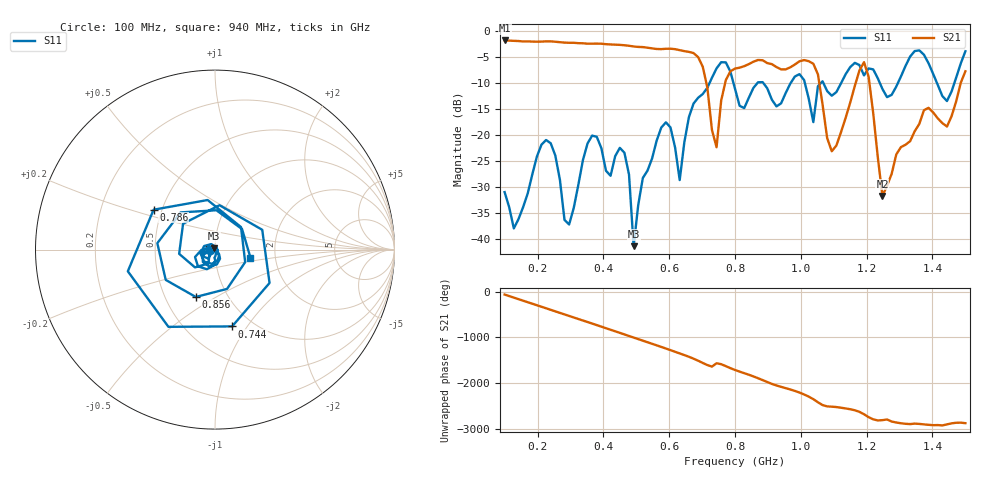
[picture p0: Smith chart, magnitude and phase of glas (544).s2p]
! NanoVNA-App
! Date: 2025-09-25 15:59:42
! Start: 100MHz Stop: 1,5GHz Points: 101
! S-Parameter data: F S11 S21 S12 S22
# Hz S RI R 50
!  Frequency  S11_Real  S11_Imag  S21_Real  S21_Imag  S12_Real  S12_Imag  S22_Real  S22_Imag
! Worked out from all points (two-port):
!   101 points, 100 MHz to 1.5 GHz, reference 50 ohm
!   highest |S21| = -1.80 dB at 100 MHz (marker M1); lowest = -31.7 dB at 1.248 GHz (marker M2)
!   |S21| within 3 dB of the highest: start of sweep to 684.4 MHz
!   lowest |S11| = -41.3 dB at 492 MHz (marker M3), VSWR 1.02, Z = 49.5 + j0.654 ohm
!   |S11| at or under -10 dB: start of sweep to 722.5 MHz; 795.4 MHz to 867.8 MHz (72.44 MHz wide, 8.71 % of centre); 886.3 MHz to 968.9 MHz (82.64 MHz wide, 8.91 % of centre) (the widest 3 of 7)
!   S12 and S22 are empty: the file has one direction only
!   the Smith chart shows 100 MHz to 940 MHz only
!   S11 on the Smith chart (normalised r, x): 100 MHz: 0.95, -0.01; 744 MHz: 0.81, -0.85; 786 MHz: 0.45, +0.24; 856 MHz: 0.71, -0.41; 940 MHz: 1.48, -0.14
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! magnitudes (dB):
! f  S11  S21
! 100 MHz  -30.9  -1.8
! 128 MHz  -37.9  -1.9
! 226 MHz  -20.9  -2.0
! 296 MHz  -37.2  -2.2
! 338 MHz  -24.8  -2.3
! 464 MHz  -23.4  -2.7
! 492 MHz  -41.3  -3.0
! 576 MHz  -18.5  -3.5
! 632 MHz  -28.6  -3.7
! 702 MHz  -12.1  -6.8
! 744 MHz  -7.2  -22.3
! 786 MHz  -7.8  -7.7
! 800 MHz  -11.1  -7.2
! 856 MHz  -10.9  -5.9
! 940 MHz  -13.9  -7.4
! 996 MHz  -8.3  -5.8
! 1.038 GHz  -17.5  -6.3
! 1.094 GHz  -12.4  -23.1
! 1.192 GHz  -8.5  -6.0
! 1.248 GHz  -11.1  -31.7
! 1.276 GHz  -12.2  -27.4
! 1.5 GHz  -3.9  -7.7
